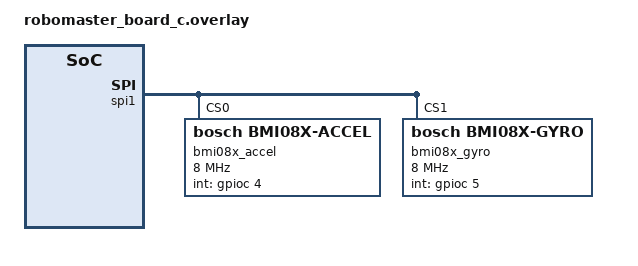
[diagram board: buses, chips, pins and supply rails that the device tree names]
&spi1 {
    status = "okay";

    bmi08x_accel: bmi08x_accel@0 {
        compatible = "bosch,bmi08x-accel";
		status = "okay";
        reg = <0>;
        spi-max-frequency = <8000000>;
        int-gpios = <&gpioc 4 GPIO_ACTIVE_HIGH>;
        accel-hz = "1600";
        accel-fs = <12>;
		int1-map-io = <0>;
		int2-map-io = <0>;
        int1-conf-io = <0>;
		int2-conf-io = <0>;
    };

    bmi08x_gyro: bmi08x_gyro@1{
        compatible = "bosch,bmi08x-gyro";
		status = "okay";
        reg = <1>;
        spi-max-frequency = <8000000>;
        int-gpios = <&gpioc 5 GPIO_ACTIVE_HIGH>;
        gyro-hz = "2000_532";
        gyro-fs = <2000>;
		int3-4-map-io = <0>;
		int3-4-conf-io = <0>;
    };
};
